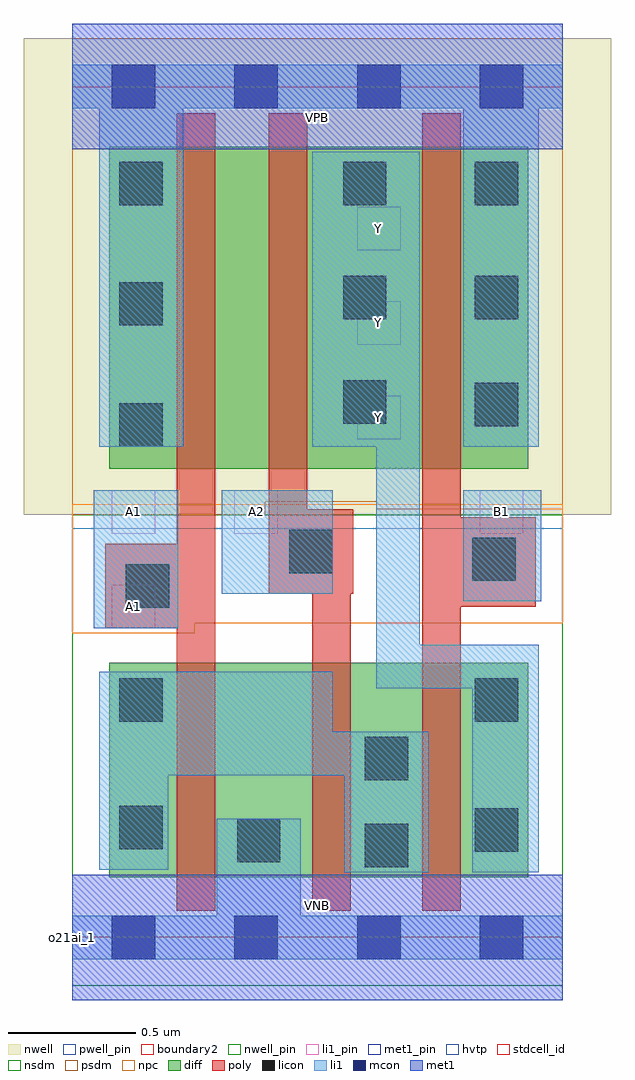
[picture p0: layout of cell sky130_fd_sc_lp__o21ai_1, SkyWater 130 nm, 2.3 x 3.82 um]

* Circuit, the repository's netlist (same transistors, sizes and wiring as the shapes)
* Copyright 2020 The SkyWater PDK Authors
*
* Licensed under the Apache License, Version 2.0 (the "License");
* you may not use this file except in compliance with the License.
* You may obtain a copy of the License at
*
*     https://www.apache.org/licenses/LICENSE-2.0
*
* Unless required by applicable law or agreed to in writing, software
* distributed under the License is distributed on an "AS IS" BASIS,
* WITHOUT WARRANTIES OR CONDITIONS OF ANY KIND, either express or implied.
* See the License for the specific language governing permissions and
* limitations under the License.
*
* SPDX-License-Identifier: Apache-2.0

.SUBCKT sky130_fd_sc_lp__o21ai_1 A1 A2 B1 VGND VNB VPB VPWR Y
*.PININFO A1:I A2:I B1:I VGND:I VNB:I VPB:I VPWR:I Y:O
MMPA0 VPWR A1 sndA1 VPB sky130_fd_pr__pfet_01v8_hvt m=1 w=1.26U l=0.15U mult=1
+ sa=0.265 sb=0.265 sd=0.28 area=0.063 perim=1.14
MMPA1 sndA1 A2 Y VPB sky130_fd_pr__pfet_01v8_hvt m=1 w=1.26U l=0.15U mult=1 sa=0.265
+ sb=0.265 sd=0.28 area=0.063 perim=1.14
MMPB0 VPWR B1 Y VPB sky130_fd_pr__pfet_01v8_hvt m=1 w=1.26U l=0.15U mult=1 sa=0.265
+ sb=0.265 sd=0.28 area=0.063 perim=1.14
MMNA0 pndA A1 VGND VNB sky130_fd_pr__nfet_01v8 m=1 w=0.84U l=0.15U mult=1 sa=0.265
+ sb=0.265 sd=0.28 area=0.063 perim=1.14
MMNA1 pndA A2 VGND VNB sky130_fd_pr__nfet_01v8 m=1 w=0.84U l=0.15U mult=1 sa=0.265
+ sb=0.265 sd=0.28 area=0.063 perim=1.14
MMNB0 Y B1 pndA VNB sky130_fd_pr__nfet_01v8 m=1 w=0.84U l=0.15U mult=1 sa=0.265
+ sb=0.265 sd=0.28 area=0.063 perim=1.14
.ENDS sky130_fd_sc_lp__o21ai_1

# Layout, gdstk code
import gdstk
lib = gdstk.Library(unit=1e-6, precision=1e-09)
def R(c, l, rs):  # rectangles x0, y0, x1, y1
    for r in rs: c.add(gdstk.rectangle(r[:2], r[2:], *l))
def A(c, l, x, y, w, h, nx, ny, dx, dy):  # array of equal rectangles
    R(c, l, [(x+i*dx, y+j*dy, x+i*dx+w, y+j*dy+h) for i in range(nx) for j in range(ny)])
def P(c, l, *ps):  # polygons
    for p in ps: c.add(gdstk.Polygon(p, *l))
nwell_pin = (64, 16)
nwell = (64, 20)
diff = (65, 20)
poly = (66, 20)
licon = (66, 44)
li1_pin = (67, 16)
li1 = (67, 20)
mcon = (67, 44)
met1_pin = (68, 16)
met1 = (68, 20)
hvtp = (78, 44)
stdcell_id = (81, 4)
nsdm = (93, 44)
psdm = (94, 20)
npc = (95, 20)
pwell_pin = (122, 16)
boundary2 = (236, 0)

sky130_fd_sc_lp__o21ai_1 = lib.new_cell('sky130_fd_sc_lp__o21ai_1')
R(sky130_fd_sc_lp__o21ai_1, nwell_pin, [(0,3.085,1.92,3.33)])
R(sky130_fd_sc_lp__o21ai_1, nwell, [(-0.19,1.655,2.11,3.52)])
R(sky130_fd_sc_lp__o21ai_1, diff, [(0.145,0.235,1.785,1.075), (0.145,1.835,1.785,3.095)])
P(sky130_fd_sc_lp__o21ai_1, poly, [(0.56,3.225),(0.41,3.225),(0.41,1.54),(0.13,1.54),(0.13,1.21),(0.41,1.21),(0.41,0.105),(0.56,0.105)],
  [(1.1,1.675),(0.92,1.675),(0.92,3.225),(0.77,3.225),(0.77,1.345),(0.94,1.345),(0.94,0.105),(1.09,0.105),(1.09,1.345),(1.1,1.345)],
  [(1.815,1.645),(1.52,1.645),(1.52,3.225),(1.37,3.225),(1.37,0.105),(1.52,0.105),(1.52,1.295),(1.815,1.295)])
R(sky130_fd_sc_lp__o21ai_1, licon, [(1.145,0.275,1.315,0.445), (0.645,0.295,0.815,0.465), (1.575,0.335,1.745,0.505), (0.185,0.345,0.355,0.515), (1.145,0.615,1.315,0.785), (0.185,0.845,0.355,1.015), (1.575,0.845,1.745,1.015), (0.21,1.29,0.38,1.46), (1.565,1.395,1.735,1.565), (0.85,1.425,1.02,1.595), (0.185,1.92,0.355,2.09), (1.575,2,1.745,2.17), (1.06,2.01,1.23,2.18), (0.185,2.395,0.355,2.565), (1.06,2.42,1.23,2.59), (1.575,2.42,1.745,2.59), (0.185,2.865,0.355,3.035), (1.06,2.865,1.23,3.035), (1.575,2.865,1.745,3.035)])
A(sky130_fd_sc_lp__o21ai_1, li1_pin, 1.115, 1.95, 0.17, 0.17, 1, 3, 0, 0.37)
R(sky130_fd_sc_lp__o21ai_1, li1_pin, [(0.155,1.21,0.325,1.38), (0.155,1.58,0.325,1.75), (0.635,1.58,0.805,1.75), (1.595,1.58,1.765,1.75)])
R(sky130_fd_sc_lp__o21ai_1, li1, [(0.085,1.21,0.415,1.75), (1.53,1.315,1.835,1.75), (0.585,1.345,1.02,1.75)])
P(sky130_fd_sc_lp__o21ai_1, li1, [(0.105,1.92),(0.105,3.245),(0,3.245),(0,3.415),(1.92,3.415),(1.92,3.245),(1.825,3.245),(1.825,1.92),(1.53,1.92),(1.53,3.245),(0.435,3.245),(0.435,1.92)],
  [(0.565,0.085),(0.565,0.465),(0.895,0.465),(0.895,0.085),(1.92,0.085),(1.92,-0.085),(0,-0.085),(0,0.085)],
  [(1.02,0.805),(1.395,0.805),(1.395,0.255),(1.065,0.255),(1.065,0.635),(0.375,0.635),(0.375,0.265),(0.105,0.265),(0.105,1.04),(1.02,1.04)],
  [(1.825,1.145),(1.36,1.145),(1.36,3.075),(0.94,3.075),(0.94,1.92),(1.19,1.92),(1.19,0.975),(1.565,0.975),(1.565,0.255),(1.825,0.255)])
A(sky130_fd_sc_lp__o21ai_1, mcon, 0.155, -0.085, 0.17, 0.17, 4, 2, 0.48, 3.33)
R(sky130_fd_sc_lp__o21ai_1, met1_pin, [(0,0,1.92,0.245), (0,3.085,1.92,3.33)])
R(sky130_fd_sc_lp__o21ai_1, met1, [(0,-0.245,1.92,0.245), (0,3.085,1.92,3.575)])
R(sky130_fd_sc_lp__o21ai_1, hvtp, [(0,1.6,1.92,3.33)])
R(sky130_fd_sc_lp__o21ai_1, stdcell_id, [(0,0,1.92,3.33)])
R(sky130_fd_sc_lp__o21ai_1, nsdm, [(0,-0.19,1.92,1.655)])
P(sky130_fd_sc_lp__o21ai_1, psdm, [(1.92,3.52),(0,3.52),(0,1.655),(0.755,1.655),(0.755,1.705),(1.19,1.705),(1.19,1.675),(1.92,1.675)])
P(sky130_fd_sc_lp__o21ai_1, npc, [(1.92,1.695),(0,1.695),(0,1.19),(0.48,1.19),(0.48,1.23),(1.92,1.23)])
R(sky130_fd_sc_lp__o21ai_1, pwell_pin, [(0,0,1.92,0.245)])
R(sky130_fd_sc_lp__o21ai_1, boundary2, [(0,0,1.92,3.33)])
sky130_fd_sc_lp__o21ai_1.add(gdstk.Label('VNB', (0.96,0.123), layer=64, texttype=59))
sky130_fd_sc_lp__o21ai_1.add(gdstk.Label('VPB', (0.96,3.208), layer=64, texttype=5))
sky130_fd_sc_lp__o21ai_1.add(gdstk.Label('o21ai_1', (0,0), layer=83, texttype=44))
sky130_fd_sc_lp__o21ai_1.add(gdstk.Label('VPWR', (0.96,3.208), layer=68, texttype=5))
sky130_fd_sc_lp__o21ai_1.add(gdstk.Label('VGND', (0.96,0.123), layer=68, texttype=5))
sky130_fd_sc_lp__o21ai_1.add(gdstk.Label('A1', (0.24,1.295), layer=67, texttype=5))
sky130_fd_sc_lp__o21ai_1.add(gdstk.Label('A1', (0.24,1.665), layer=67, texttype=5))
sky130_fd_sc_lp__o21ai_1.add(gdstk.Label('A2', (0.72,1.665), layer=67, texttype=5))
sky130_fd_sc_lp__o21ai_1.add(gdstk.Label('Y', (1.2,2.035), layer=67, texttype=5))
sky130_fd_sc_lp__o21ai_1.add(gdstk.Label('Y', (1.2,2.405), layer=67, texttype=5))
sky130_fd_sc_lp__o21ai_1.add(gdstk.Label('Y', (1.2,2.775), layer=67, texttype=5))
sky130_fd_sc_lp__o21ai_1.add(gdstk.Label('B1', (1.68,1.665), layer=67, texttype=5))

lib.write_gds('sky130_fd_sc_lp__o21ai_1.gds')
